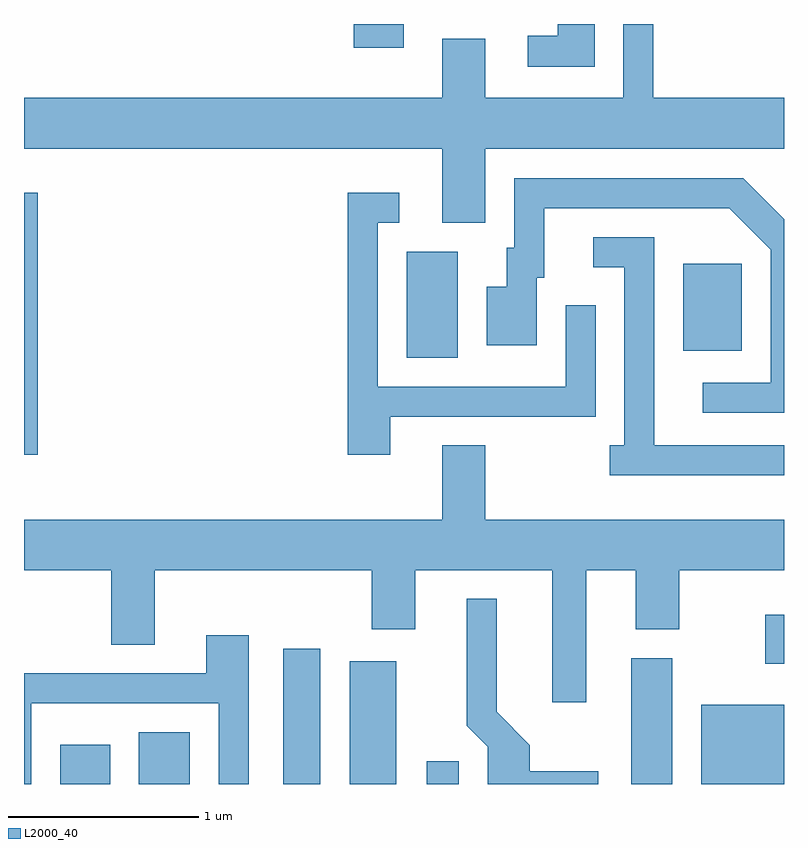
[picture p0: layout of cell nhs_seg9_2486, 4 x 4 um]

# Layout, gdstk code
import gdstk
lib = gdstk.Library(unit=1e-6, precision=1e-09)
def R(c, l, rs):  # rectangles x0, y0, x1, y1
    for r in rs: c.add(gdstk.rectangle(r[:2], r[2:], *l))
def P(c, l, *ps):  # polygons
    for p in ps: c.add(gdstk.Polygon(p, *l))
L2000_40 = (2000, 40)

nhs_seg9_2486 = lib.new_cell('nhs_seg9_2486')
R(nhs_seg9_2486, L2000_40, [(257.801,2028.432,258.064,2028.639), (258.216,2028.432,258.484,2028.704), (258.976,2028.432,259.169,2029.144), (259.326,2028.432,259.569,2029.079), (259.731,2028.432,259.899,2028.553), (260.806,2028.432,261.024,2029.094), (261.176,2028.432,261.611,2028.849), (261.511,2029.066,261.611,2029.324), (257.611,2030.166,257.684,2031.544), (259.626,2030.676,259.894,2031.234), (261.081,2030.711,261.389,2031.169), (259.346,2032.306,259.609,2032.432)])
P(nhs_seg9_2486, L2000_40, [(260.614,2032.432),(260.421,2032.432),(260.421,2032.369),(260.263,2032.369),(260.263,2032.206),(260.614,2032.206)],
  [(260.039,2031.776),(261.611,2031.776),(261.611,2032.044),(260.924,2032.044),(260.924,2032.432),(260.766,2032.432),(260.766,2032.044),(260.039,2032.044),(260.039,2032.354),(259.811,2032.354),(259.811,2032.044),(257.611,2032.044),(257.611,2031.776),(259.811,2031.776),(259.811,2031.386),(260.039,2031.386)],
  [(261.611,2031.405),(261.397,2031.619),(260.191,2031.619),(260.191,2031.254),(260.151,2031.254),(260.151,2031.049),(260.046,2031.049),(260.046,2030.741),(260.309,2030.741),(260.309,2031.096),(260.349,2031.096),(260.349,2031.461),(261.324,2031.461),(261.541,2031.244),(261.541,2030.544),(261.183,2030.544),(261.183,2030.386),(261.611,2030.386)],
  [(259.539,2030.366),(260.619,2030.366),(260.619,2030.953),(260.461,2030.953),(260.461,2030.524),(259.474,2030.524),(259.474,2031.386),(259.587,2031.386),(259.587,2031.544),(259.316,2031.544),(259.316,2030.166),(259.539,2030.166)],
  [(261.611,2030.214),(260.929,2030.214),(260.929,2031.309),(260.608,2031.309),(260.608,2031.151),(260.771,2031.151),(260.771,2030.214),(260.693,2030.214),(260.693,2030.056),(261.611,2030.056)],
  [(260.569,2029.556),(260.831,2029.556),(260.831,2029.246),(261.059,2029.246),(261.059,2029.556),(261.611,2029.556),(261.611,2029.824),(260.039,2029.824),(260.039,2030.214),(259.811,2030.214),(259.811,2029.824),(257.611,2029.824),(257.611,2029.556),(258.071,2029.556),(258.071,2029.166),(258.299,2029.166),(258.299,2029.556),(259.441,2029.556),(259.441,2029.246),(259.669,2029.246),(259.669,2029.556),(260.391,2029.556),(260.391,2028.861),(260.569,2028.861)],
  [(260.634,2028.499),(260.274,2028.499),(260.274,2028.637),(260.099,2028.812),(260.099,2029.408),(259.941,2029.408),(259.941,2028.739),(260.051,2028.629),(260.051,2028.432),(260.634,2028.432)],
  [(257.649,2028.856),(258.636,2028.856),(258.636,2028.432),(258.794,2028.432),(258.794,2029.214),(258.571,2029.214),(258.571,2029.014),(257.611,2029.014),(257.611,2028.432),(257.649,2028.432)])

lib.write_gds('nhs_seg9_2486.gds')
